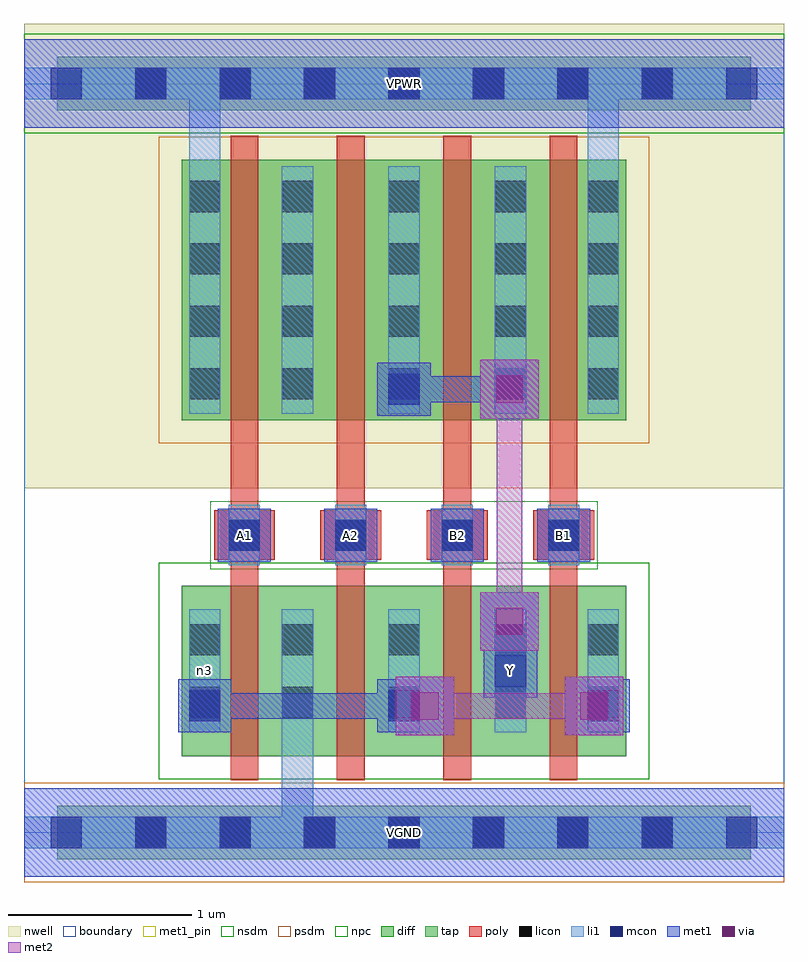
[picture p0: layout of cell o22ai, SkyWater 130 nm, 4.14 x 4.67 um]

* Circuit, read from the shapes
.subckt o22ai A1 A2 B1 B2 VGND VPWR Y n3
XM1 VGND A1 n3 VGND sky130_fd_pr__nfet_01v8 w=0.93 l=0.15
XM2 n3 A2 VGND VGND sky130_fd_pr__nfet_01v8 w=0.93 l=0.15
XM3 Y B2 n3 VGND sky130_fd_pr__nfet_01v8 w=0.93 l=0.15
XM4 n3 B1 Y VGND sky130_fd_pr__nfet_01v8 w=0.93 l=0.15
XM5 n1 A1 VPWR VPWR sky130_fd_pr__pfet_01v8 w=1.42 l=0.15
XM6 Y A2 n1 VPWR sky130_fd_pr__pfet_01v8 w=1.42 l=0.15
XM7 n2 B2 Y VPWR sky130_fd_pr__pfet_01v8 w=1.42 l=0.15
XM8 VPWR B1 n2 VPWR sky130_fd_pr__pfet_01v8 w=1.42 l=0.15
.ends

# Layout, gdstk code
import gdstk
lib = gdstk.Library(unit=1e-6, precision=1e-09)
def R(c, l, rs):  # rectangles x0, y0, x1, y1
    for r in rs: c.add(gdstk.rectangle(r[:2], r[2:], *l))
def A(c, l, x, y, w, h, nx, ny, dx, dy):  # array of equal rectangles
    R(c, l, [(x+i*dx, y+j*dy, x+i*dx+w, y+j*dy+h) for i in range(nx) for j in range(ny)])
nwell = (64, 20)
diff = (65, 20)
tap = (65, 44)
poly = (66, 20)
licon = (66, 44)
li1 = (67, 20)
mcon = (67, 44)
met1_pin = (68, 16)
met1 = (68, 20)
via = (68, 44)
met2 = (69, 20)
nsdm = (93, 44)
psdm = (94, 20)
npc = (95, 20)
boundary = (235, 4)

o22ai = lib.new_cell('o22ai')
R(o22ai, nwell, [(0,1.875,4.14,4.405)])
R(o22ai, diff, [(0.86,0.415,3.28,1.345), (0.86,2.245,3.28,3.665)])
R(o22ai, tap, [(0.18,-0.145,3.96,0.145), (0.18,3.935,3.96,4.225)])
A(o22ai, poly, 1.125, 0.285, 0.15, 3.51, 4, 1, 0.58, 0)
A(o22ai, poly, 1.035, 1.485, 0.33, 0.27, 4, 1, 0.58, 0)
A(o22ai, licon, 0.605, -0.085, 0.17, 0.17, 7, 2, 0.46, 4.08)
A(o22ai, licon, 1.405, 0.625, 0.17, 0.17, 3, 2, 0.58, 0.34)
A(o22ai, licon, 1.115, 1.535, 0.17, 0.17, 4, 1, 0.58, 0)
A(o22ai, licon, 0.9, 2.36, 0.17, 0.17, 1, 4, 0, 0.34)
A(o22ai, licon, 1.405, 2.36, 0.17, 0.17, 3, 4, 0.58, 0.34)
A(o22ai, licon, 3.07, 2.36, 0.17, 0.17, 1, 4, 0, 0.34)
R(o22ai, licon, [(0.9,0.625,1.07,0.795), (3.07,0.625,3.24,0.795), (0.9,0.965,1.07,1.135), (3.07,0.965,3.24,1.135)])
A(o22ai, li1, 1.405, 0.545, 0.17, 0.67, 3, 1, 0.58, 0)
A(o22ai, li1, 1.115, 1.455, 0.17, 0.33, 4, 1, 0.58, 0)
A(o22ai, li1, 1.405, 2.28, 0.17, 1.35, 3, 1, 0.58, 0)
R(o22ai, li1, [(0,-0.085,4.14,0.085), (1.405,-0.085,1.575,1.215), (0.9,0.545,1.07,1.215), (3.07,0.545,3.24,1.215), (0.9,2.28,1.07,3.63), (0.9,2.28,1.07,4.165), (3.07,2.28,3.24,3.63), (3.07,2.28,3.24,4.165), (0,3.995,4.14,4.165)])
A(o22ai, mcon, 0.145, -0.085, 0.17, 0.17, 9, 2, 0.46, 4.08)
A(o22ai, mcon, 0.9, 0.605, 0.17, 0.17, 3, 1, 1.085, 0)
A(o22ai, mcon, 1.115, 1.535, 0.17, 0.17, 4, 1, 0.58, 0)
R(o22ai, mcon, [(2.565,0.795,2.735,0.965), (1.985,2.33,2.155,2.5)])
A(o22ai, met1_pin, 1.055, 1.475, 0.29, 0.29, 4, 1, 0.58, 0)
R(o22ai, met1_pin, [(0,-0.24,4.14,0.24), (2.505,0.735,2.795,1.025), (0,3.84,4.14,4.32)])
A(o22ai, met1, 0.84, 0.545, 0.29, 0.29, 3, 1, 1.085, 0)
A(o22ai, met1, 1.055, 1.475, 0.29, 0.29, 4, 1, 0.58, 0)
R(o22ai, met1, [(0,-0.24,4.14,0.24), (2.025,0.53,2.345,0.85), (2.945,0.53,3.265,0.85), (0.915,0.62,1.22,0.76), (1.08,0.62,2.14,0.76), (2,0.62,2.255,0.76), (3.035,0.62,3.225,0.76), (2.505,0.735,2.795,1.025), (2.575,0.85,2.715,0.99), (2.575,0.85,2.715,1.22), (2.485,0.99,2.805,1.31), (2.485,2.255,2.805,2.575), (1.925,2.27,2.215,2.56), (2,2.345,2.715,2.485), (0,3.84,4.14,4.32)])
R(o22ai, via, [(2.11,0.615,2.26,0.765), (3.03,0.615,3.18,0.765), (2.57,1.075,2.72,1.225), (2.57,2.34,2.72,2.49)])
R(o22ai, met2, [(2.025,0.53,2.345,0.85), (2.945,0.53,3.265,0.85), (2.115,0.62,3.175,0.76), (2.485,0.99,2.805,1.31), (2.575,1.08,2.715,2.485), (2.485,2.255,2.805,2.575)])
R(o22ai, nsdm, [(0.735,0.29,3.405,1.47), (0,3.81,4.14,4.35)])
R(o22ai, psdm, [(0,-0.27,4.14,0.27), (0.735,2.12,3.405,3.79)])
R(o22ai, npc, [(1.015,1.435,3.125,1.805)])
R(o22ai, boundary, [(0,0,4.14,4.08)])
o22ai.add(gdstk.Label('n3', (0.985,0.88), layer=67, texttype=5))
o22ai.add(gdstk.Label('A1', (1.2,1.62), layer=68, texttype=5))
o22ai.add(gdstk.Label('A2', (1.78,1.62), layer=68, texttype=5))
o22ai.add(gdstk.Label('B1', (2.94,1.62), layer=68, texttype=5))
o22ai.add(gdstk.Label('B2', (2.36,1.62), layer=68, texttype=5))
o22ai.add(gdstk.Label('Y', (2.65,0.88), layer=68, texttype=5))
o22ai.add(gdstk.Label('VPWR', (2.07,4.08), layer=68, texttype=5))
o22ai.add(gdstk.Label('VGND', (2.07,0), layer=68, texttype=5))
o22ai.add(gdstk.Label('A1', (1.2,1.62), layer=68, texttype=16))
o22ai.add(gdstk.Label('A2', (1.78,1.62), layer=68, texttype=16))
o22ai.add(gdstk.Label('B1', (2.94,1.62), layer=68, texttype=16))
o22ai.add(gdstk.Label('B2', (2.36,1.62), layer=68, texttype=16))
o22ai.add(gdstk.Label('Y', (2.65,0.88), layer=68, texttype=16))
o22ai.add(gdstk.Label('VPWR', (2.07,4.08), layer=68, texttype=16))
o22ai.add(gdstk.Label('VGND', (2.07,0), layer=68, texttype=16))

lib.write_gds('o22ai.gds')
